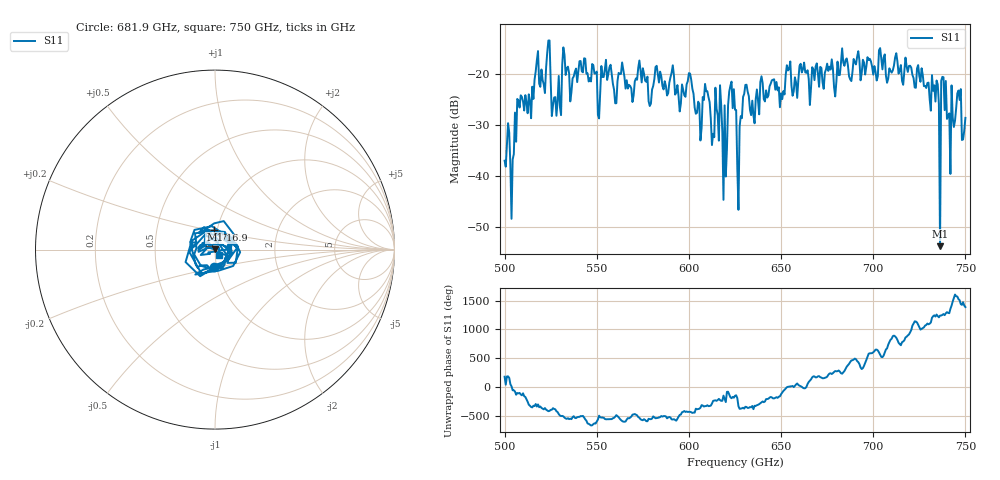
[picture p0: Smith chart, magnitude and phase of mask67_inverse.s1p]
!Created with skrf (http://scikit-rf.org).
# GHz S MA R 50.0
!freq magS11 angS11
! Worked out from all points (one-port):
!   401 points, 500 GHz to 750 GHz, reference 50 ohm
!   lowest |S11| = -53.8 dB at 736.2 GHz (marker M1), VSWR 1.00, Z = 49.8 + j0.0646 ohm
!   |S11| at or under -10 dB: start of sweep to end of sweep
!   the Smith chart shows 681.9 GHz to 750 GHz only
!   S11 on the Smith chart (normalised r, x): 681.9 GHz: 0.98, -0.19; 716.9 GHz: 0.97, +0.21; 750 GHz: 1.05, -0.06
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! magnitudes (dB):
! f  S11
! 500 GHz  -37.1
! 503.8 GHz  -48.4
! 508.1 GHz  -26.6
! 517.5 GHz  -17.4
! 523.8 GHz  -13.5
! 526.9 GHz  -24.7
! 531.2 GHz  -18.3
! 562.5 GHz  -20.1
! 593.8 GHz  -22.2
! 600.6 GHz  -20.0
! 605.6 GHz  -25.9
! 610 GHz  -23.4
! 619.4 GHz  -26.2
! 622.5 GHz  -22.4
! 625 GHz  -27.1
! 627.5 GHz  -30.4
! 630.6 GHz  -22.2
! 634.4 GHz  -25.3
! 656.2 GHz  -24.3
! 681.9 GHz  -20.3
! 687.5 GHz  -21.1
! 716.9 GHz  -19.4
! 718.8 GHz  -19.7
! 736.2 GHz  -53.8
! 738.1 GHz  -20.7
! 740.6 GHz  -28.3
! 746.2 GHz  -23.3
! 750 GHz  -28.7
